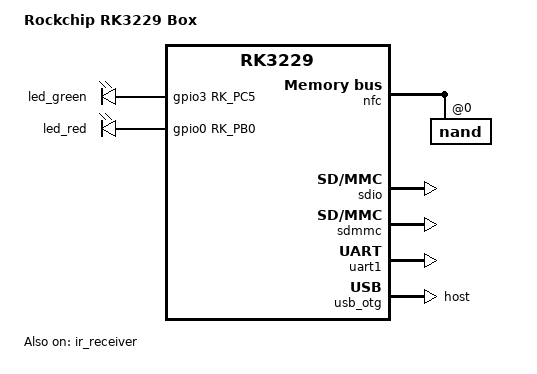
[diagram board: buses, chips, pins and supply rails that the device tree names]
// SPDX-License-Identifier: (GPL-2.0+ OR MIT)

/dts-v1/;
#include "rk3229-box.dtsi"

/ {
	model = "Rockchip RK3229 Box";

	leds {
		compatible = "gpio-leds";

		led_green {
			gpios = <&gpio3 RK_PC5 GPIO_ACTIVE_HIGH>;
			default-state = "on";
		};

		led_red {
			gpios = <&gpio0 RK_PB0 GPIO_ACTIVE_HIGH>;
			default-state = "off";
		};
	};
};

&ir_receiver {
	status = "okay";
};

&nfc {
	#address-cells = <1>;
	#size-cells = <0>;
	status = "okay";

	nand@0 {
		reg = <0>;
		nand-ecc-mode = "hw";
		nand-ecc-strength = <60>;
		nand-ecc-step-size = <1024>;
		nand-bus-width = <8>;
	};
};

&power_key {
	status = "okay";
};

&sdio {
	status = "okay";
};

&sdmmc {
	status = "okay";
};

&uart1 {
	status = "okay";
};

&usb_otg {
	dr_mode = "host";
};
